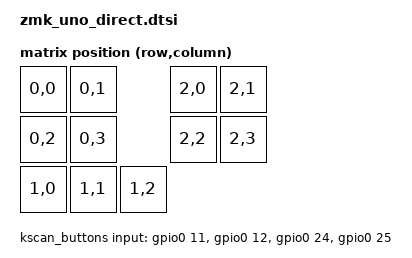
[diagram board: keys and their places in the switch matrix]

#include <dt-bindings/zmk/matrix_transform.h>

// Add the DK's four push buttons to the matrix
/ {
    kscan_buttons: kscan_buttons {
        compatible = "zmk,kscan-gpio-direct";

        input-gpios
			= <&gpio0 11 (GPIO_PULL_UP | GPIO_ACTIVE_LOW)>
			, <&gpio0 12 (GPIO_PULL_UP | GPIO_ACTIVE_LOW)>
			, <&gpio0 24 (GPIO_PULL_UP | GPIO_ACTIVE_LOW)>
			, <&gpio0 25 (GPIO_PULL_UP | GPIO_ACTIVE_LOW)>
			;
    };
};

&kscan_direct_comp {
    status = "okay";
    buttons {
        kscan = <&kscan_buttons>;
        row-offset = <2>;
    };
};

&kscan_direct { status = "okay"; };
&kscan_matrix_comp { status = "disabled"; };
&kscan_matrix { status = "disabled"; };

&direct_matrix_transform {
    rows = <3>;
    columns = <4>;

    map = <
        RC(0,0) RC(0,1)             RC(2,0) RC(2,1)
        RC(0,2) RC(0,3)             RC(2,2) RC(2,3)
        RC(1,0) RC(1,1) RC(1,2)
    >;
};

/ {
    chosen {
        zmk,matrix-transform = &direct_matrix_transform;
        zmk,kscan = &kscan_direct_comp;
    };
};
